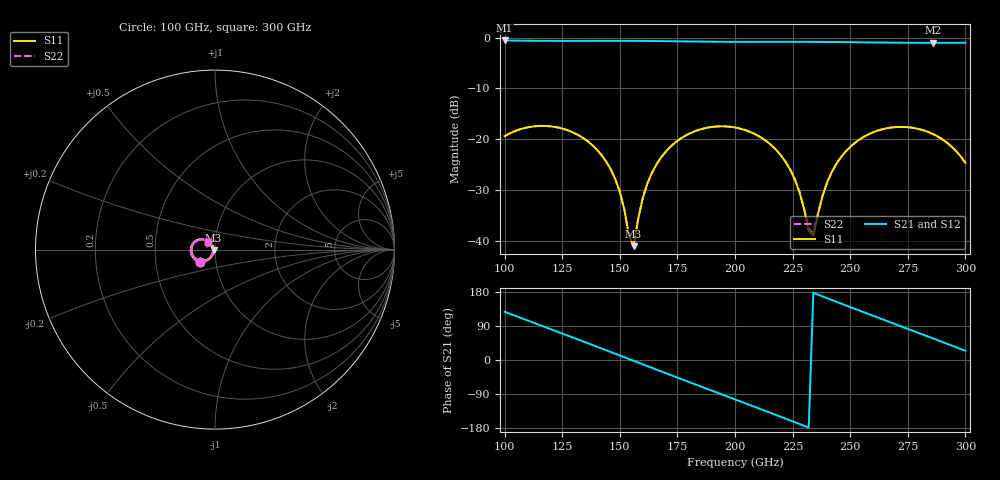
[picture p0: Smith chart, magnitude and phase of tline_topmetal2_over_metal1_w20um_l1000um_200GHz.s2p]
#  GHZ S DB R 50
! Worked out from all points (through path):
!   101 points, 100 GHz to 300 GHz, reference 50 ohm
!   highest |S21| = -0.55 dB at 100 GHz (marker M1); lowest = -1.0 dB at 286 GHz (marker M2)
!   group delay of S21, straight-line fit = 6.44 ps
!   lowest |S11| = -41.1 dB at 156 GHz (marker M3), VSWR 1.02, Z = 49.2 - j0.349 ohm
!   |S11| at or under -10 dB: start of sweep to end of sweep
!   |S22| runs from -41.0 to -17.4 dB; largest |S21 - S12| = 1.1e-14
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100  -19.42 -139.8  -0.55 127.3  -0.55 127.3  -19.42 -139.7
116  -17.38 -175.2  -0.62 90.5  -0.62 90.5  -17.38 -175.0
134  -19.74 145.8  -0.63 49.1  -0.63 49.1  -19.75 146.0
142  -23.08 129.8  -0.62 30.6  -0.62 30.6  -23.10 130.1
148  -27.82 121.1  -0.62 16.6  -0.62 16.6  -27.85 121.4
152  -33.89 124.2  -0.62 7.3  -0.62 7.3  -33.95 124.7
154  -39.07 143.0  -0.62 2.6  -0.62 2.6  -39.12 143.9
156  -41.08 -156.3  -0.63 -2.1  -0.63 -2.1  -40.97 -155.2
160  -31.57 -115.9  -0.64 -11.4  -0.64 -11.4  -31.51 -115.6
168  -23.55 -123.1  -0.67 -30.1  -0.67 -30.1  -23.53 -122.9
184  -18.20 -155.6  -0.76 -67.2  -0.76 -67.2  -18.19 -155.3
200  -17.70 170.2  -0.82 -104.0  -0.82 -104.0  -17.69 170.6
220  -23.24 130.2  -0.82 -150.2  -0.82 -150.2  -23.21 131.0
226  -27.97 123.3  -0.81 -164.1  -0.81 -164.1  -27.91 124.6
232  -38.09 152.0  -0.82 -178.1  -0.82 -178.1  -37.58 154.0
234  -38.96 -158.6  -0.82 177.2  -0.82 177.2  -38.37 -160.1
240  -28.52 -119.7  -0.84 163.1  -0.84 163.1  -28.47 -120.7
246  -23.55 -125.9  -0.87 149.1  -0.87 149.1  -23.54 -126.4
258  -19.03 -148.6  -0.93 121.3  -0.93 121.3  -19.02 -148.8
268  -17.69 -169.3  -0.98 98.2  -0.98 98.2  -17.69 -169.4
286  -19.00 153.7  -1.01 56.8  -1.01 56.8  -19.01 153.6
300  -24.67 130.0  -1.00 24.3  -1.00 24.3  -24.70 129.8
